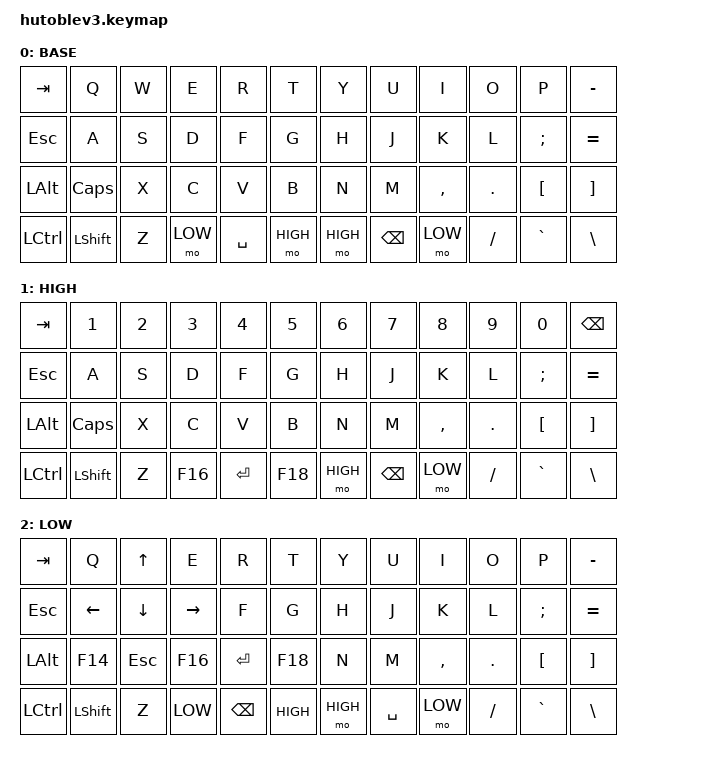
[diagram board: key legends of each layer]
#include <behaviors.dtsi>
#include <dt-bindings/zmk/keys.h>
#include <dt-bindings/zmk/bt.h>
#include <dt-bindings/zmk/outputs.h>

#define BASE 0
#define HIGH  1
#define LOW  2

&mt {
  quick-tap-ms = <100>;
  global-quick-tap;
  flavor = "tap-preferred";
  tapping-term-ms = <170>;
};
/ {
   keymap {
        compatible = "zmk,keymap";
        base_layer {
            label= "BASE";
                bindings = <
                &kp TAB     &kp Q       &kp W       &kp E       &kp R       &kp T         &kp Y       &kp U        &kp I       &kp O       &kp P       &kp MINUS
                &kp ESC     &kp A       &kp S       &kp D       &kp F       &kp G         &kp H       &kp J        &kp K       &kp L       &kp SEMI    &kp EQUAL
                &kp LALT    &kp CAPS    &kp X       &kp C       &kp V       &kp B         &kp N       &kp M        &kp COMMA   &kp DOT     &kp LBKT    &kp RBKT 
                &kp LCTRL   &kp LSHIFT  &kp Z       &mo LOW     &kp SPACE   &mo HIGH      &mo HIGH    &kp BSPC     &mo LOW     &kp FSLH    &kp GRAVE   &kp BSLH 
                        >;
                  };
            high_layer {
            label= "HIGH";
                bindings = <
                &kp TAB     &kp N1      &kp N2      &kp N3      &kp N4      &kp N5        &kp N6      &kp N7       &kp N8      &kp N9      &kp N0      &kp BSPC
                &kp ESC     &kp A       &kp S       &kp D       &kp F       &kp G         &kp H       &kp J        &kp K       &kp L       &kp SEMI    &kp EQUAL
                &kp LALT    &kp CAPS    &kp X       &kp C       &kp V       &kp B         &kp N       &kp M        &kp COMMA   &kp DOT     &kp LBKT    &kp RBKT 
                &kp LCTRL   &kp LSHIFT  &kp Z       &kp F16     &kp ENTER   &kp F18       &mo HIGH    &kp BSPC     &mo LOW     &kp FSLH    &kp GRAVE   &kp BSLH 
                        >;
                  };
            low_layer {
            label= "LOW";
                bindings = <
                &kp TAB     &kp Q       &kp UP      &kp E       &kp R       &kp T         &kp Y       &kp U        &kp I       &kp O       &kp P       &kp MINUS
                &kp ESC     &kp LEFT    &kp DOWN    &kp RIGHT   &kp F       &kp G         &kp H       &kp J        &kp K       &kp L       &kp SEMI    &kp EQUAL
                &kp LALT    &kp F14     &kp ESC     &kp F16     &kp ENTER   &kp F18       &kp N       &kp M        &kp COMMA   &kp DOT     &kp LBKT    &kp RBKT 
                &kp LCTRL   &kp LSHIFT  &kp Z       &kp LOW     &kp BSPC    &kp HIGH      &mo HIGH    &kp SPACE    &mo LOW     &kp FSLH    &kp GRAVE   &kp BSLH 
                        >;
                  };
        };
};
